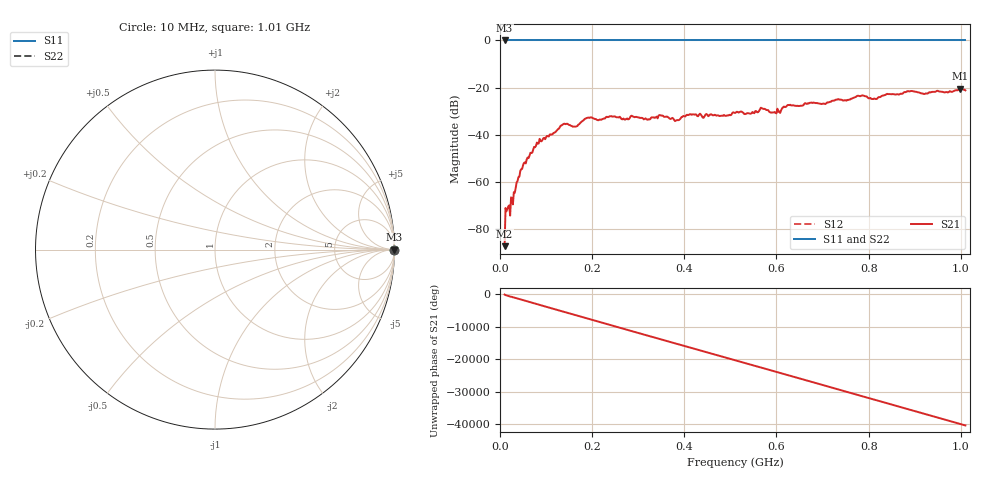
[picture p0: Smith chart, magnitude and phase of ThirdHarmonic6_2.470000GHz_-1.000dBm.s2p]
! 8/17/2025 4:32:26 AM
! C:\ANRITSUVNA\TEMP\TEMP.S2P
! CHANNEL.1
! TR.MEASUREMENT
! RAW.DATA
! RF.CORRECTION.OFF
! AVERAGING.OFF
! IF.BANDWIDTH: 5KHZ
! SWEEPTYPE:  FREQ.SWEEP(Linear)
! Reference Plane Port Info
! PORT:  PORT1  PORT2
! DISTANCE:  0  m  0  m
! TIME:  0  s  0  s
! PHASE.OFFSET:  0  deg.  0  deg.
! LOSS:  0  dB  0  dB
! REF.LOSS:  0  dB  0  dB
! REF.FREQ:  0  Hz  0  Hz
! Power Info
! POWER:  -20  dBm  -20  dBm
! EFF.POWER:  -20  dBm  -20  dBm
! SOURCE.ATTEN:  0  dB  0  dB
! TEST.ATTEN:  0  dB  0  dB
# GHZ S RI R 50.0
! FREQ.GHZ  S11RE  S11IM  S21RE  S21IM  S12RE  S12IM  S22RE  S22IM
!; PortSelection: Port_12
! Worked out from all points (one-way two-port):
!   501 points, 10 MHz to 1.01 GHz, reference 50 ohm
!   highest |S21| = -20.40 dB at 998 MHz (marker M1); lowest = -87.2 dB at 10 MHz (marker M2)
!   lowest |S11| = 0.0 dB at 10 MHz (marker M3)
!   |S11| at or under -10 dB: nowhere
!   |S22| runs from 0.0 to 0.0 dB; largest |S21 - S12| = 1.1
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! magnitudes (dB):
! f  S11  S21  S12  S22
! 10 MHz  0.0  -87.2  0.0  0.0
! 16 MHz  0.0  -71.3  0.0  0.0
! 24 MHz  0.0  -66.5  0.0  0.0
! 48 MHz  0.0  -54.4  0.0  0.0
! 78 MHz  0.0  -44.7  0.0  0.0
! 136 MHz  0.0  -35.7  0.0  0.0
! 162 MHz  0.0  -36.5  0.0  0.0
! 178 MHz  0.0  -34.3  0.0  0.0
! 194 MHz  0.0  -32.8  0.0  0.0
! 344 MHz  0.0  -31.9  0.0  0.0
! 384 MHz  0.0  -33.8  0.0  0.0
! 410 MHz  0.0  -31.5  0.0  0.0
! 510 MHz  0.0  -30.7  0.0  0.0
! 570 MHz  0.0  -28.8  0.0  0.0
! 596 MHz  0.0  -30.3  0.0  0.0
! 626 MHz  0.0  -27.3  0.0  0.0
! 678 MHz  0.0  -26.5  0.0  0.0
! 784 MHz  0.0  -23.4  0.0  0.0
! 814 MHz  0.0  -24.7  0.0  0.0
! 844 MHz  0.0  -22.7  0.0  0.0
! 998 MHz  0.0  -20.4  0.0  0.0
! 1.01 GHz  0.0  -21.2  0.0  0.0
